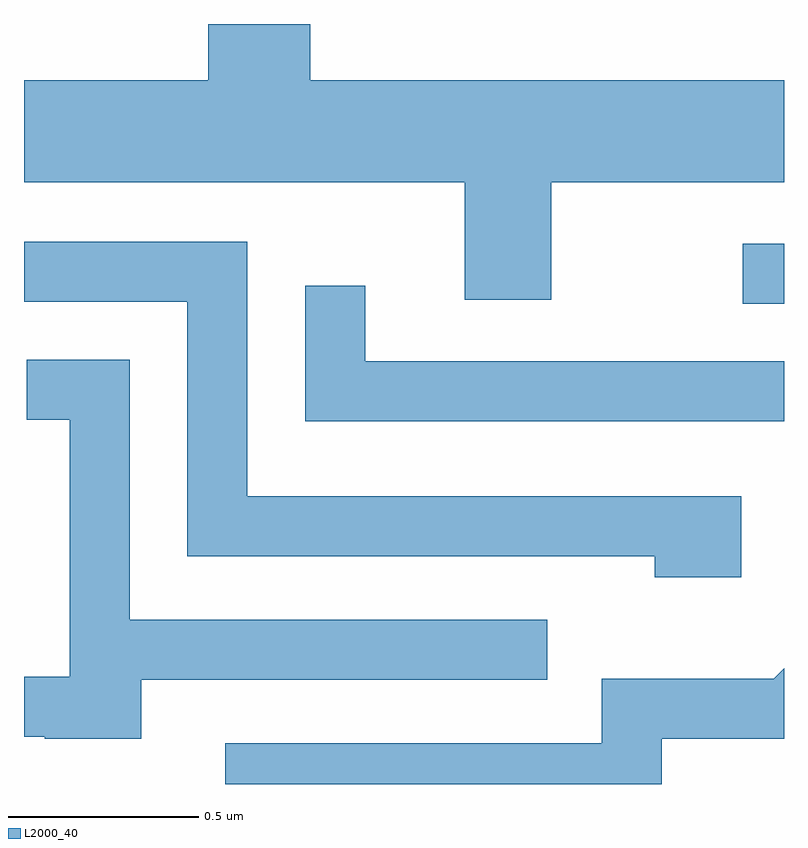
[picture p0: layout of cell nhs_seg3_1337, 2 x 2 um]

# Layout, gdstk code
import gdstk
lib = gdstk.Library(unit=1e-6, precision=1e-09)
def R(c, l, rs):  # rectangles x0, y0, x1, y1
    for r in rs: c.add(gdstk.rectangle(r[:2], r[2:], *l))
def P(c, l, *ps):  # polygons
    for p in ps: c.add(gdstk.Polygon(p, *l))
L2000_40 = (2000, 40)

nhs_seg3_1337 = lib.new_cell('nhs_seg3_1337')
R(nhs_seg3_1337, L2000_40, [(196.503,1221.156,196.611,1221.314)])
P(nhs_seg3_1337, L2000_40, [(195.999,1221.476),(196.611,1221.476),(196.611,1221.744),(195.364,1221.744),(195.364,1221.892),(195.096,1221.892),(195.096,1221.744),(194.611,1221.744),(194.611,1221.476),(195.771,1221.476),(195.771,1221.166),(195.999,1221.166)],
  [(196.499,1220.649),(195.199,1220.649),(195.199,1221.319),(194.611,1221.319),(194.611,1221.161),(195.041,1221.161),(195.041,1220.491),(196.271,1220.491),(196.271,1220.436),(196.499,1220.436)],
  [(196.611,1221.004),(195.509,1221.004),(195.509,1221.203),(195.351,1221.203),(195.351,1220.846),(196.611,1220.846)],
  [(194.919,1220.166),(195.988,1220.166),(195.988,1220.324),(194.889,1220.324),(194.889,1221.009),(194.618,1221.009),(194.618,1220.851),(194.731,1220.851),(194.731,1220.174),(194.611,1220.174),(194.611,1220.016),(194.665,1220.016),(194.665,1220.011),(194.919,1220.011)],
  [(196.289,1220.011),(196.611,1220.011),(196.611,1220.196),(196.584,1220.169),(196.131,1220.169),(196.131,1219.999),(195.141,1219.999),(195.141,1219.892),(196.289,1219.892)])

lib.write_gds('nhs_seg3_1337.gds')
